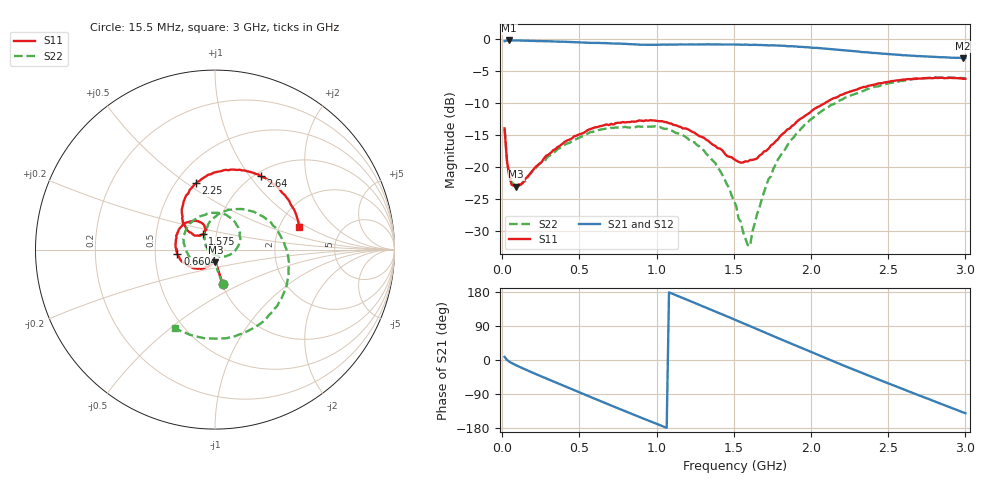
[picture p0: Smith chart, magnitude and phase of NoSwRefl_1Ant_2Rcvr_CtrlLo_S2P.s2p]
!Keysight Technologies N9926A: A.10.20
!Date: Sunday, 03 October 2021 00:58:56
!Timezone:
!Model: N9926A
!Serial: MY57271140
!GPS Latitude:
!GPS Longitude:
!GPS TimeStamp: 0001-01-01 00:00:00Z
!GPS Seconds Since Last Read: 0
!CHECKSUM:1465239375
!Correction: S11(ON U)S21(ON U)S12(ON U)S22(ON U)
!S2P File: Measurements:S11,S21,S12,S22:
# Hz S DB R 50
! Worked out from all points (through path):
!   200 points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, 15.5 MHz to 3 GHz, reference 50 ohm
!   highest |S21| = -0.29 dB at 45.49 MHz (marker M1); lowest = -3.1 dB at 2.985 GHz (marker M2)
!   group delay of S21, straight-line fit = 467 ps
!   lowest |S11| = -23.1 dB at 90.48 MHz (marker M3), VSWR 1.15, Z = 49.8 - j6.97 ohm
!   |S11| at or under -10 dB: start of sweep to 2.095 GHz
!   |S22| runs from -32.4 to -6.1 dB; largest |S21 - S12| = 0.0048
!   S11 on the Smith chart (normalised r, x): 15.5 MHz: 1.01, -0.41; 660.4 MHz: 0.65, -0.03; 1.575 GHz: 0.86, +0.15; 2.25 GHz: 0.63, +0.54; 2.64 GHz: 1.06, +1.13; 3 GHz: 2.58, +0.83
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1.54975e7  -14.02 -77.4  -0.40 8.2  -0.41 8.3  -14.09 -77.1
4.54925e7  -21.45 -84.5  -0.29 -4.2  -0.29 -4.2  -21.42 -83.9
9.0485e7  -23.13 -87.9  -0.29 -14.0  -0.30 -14.0  -23.04 -94.0
3.154475e8  -17.82 -124.5  -0.42 -54.1  -0.43 -54.0  -18.16 -145.7
5.254125e8  -14.76 -154.8  -0.61 -89.9  -0.61 -89.9  -15.19 170.2
6.6039e8  -13.52 -173.2  -0.69 -112.5  -0.71 -112.4  -14.11 142.2
8.4036e8  -12.96 166.4  -0.87 -142.7  -0.87 -142.7  -13.93 108.0
1.02033e9  -12.90 143.8  -0.96 -171.5  -0.96 -171.6  -13.80 72.5
1.26029e9  -14.96 119.8  -0.91 148.4  -0.90 148.3  -16.61 20.6
1.38027e9  -16.77 114.3  -0.89 127.9  -0.92 127.9  -19.44 -6.9
1.515248e9  -19.06 120.5  -0.94 104.8  -0.91 104.9  -26.14 -55.1
1.575238e9  -19.16 129.0  -0.93 94.5  -0.93 94.5  -31.21 -107.9
1.605232e9  -18.97 133.8  -0.99 89.4  -0.96 89.3  -32.42 -142.4
1.695218e9  -17.65 143.6  -1.02 73.8  -1.03 73.8  -24.01 149.0
1.785202e9  -15.74 144.8  -1.09 58.1  -1.10 58.1  -18.91 120.9
2.010165e9  -11.18 132.0  -1.43 19.3  -1.41 19.4  -12.42 68.5
2.250125e9  -8.30 105.9  -1.91 -21.0  -1.91 -21.1  -8.93 20.4
2.505082e9  -6.74 74.7  -2.41 -62.3  -2.43 -62.5  -6.95 -28.0
2.64006e9  -6.33 58.1  -2.66 -83.9  -2.65 -83.8  -6.43 -52.6
2.805032e9  -6.12 37.8  -2.86 -109.8  -2.88 -109.8  -6.05 -82.4
2.985002e9  -6.27 16.5  -3.05 -138.3  -3.04 -138.3  -6.18 -114.3
3e9  -6.27 14.7  -3.05 -140.5  -3.06 -140.5  -6.18 -117.3
